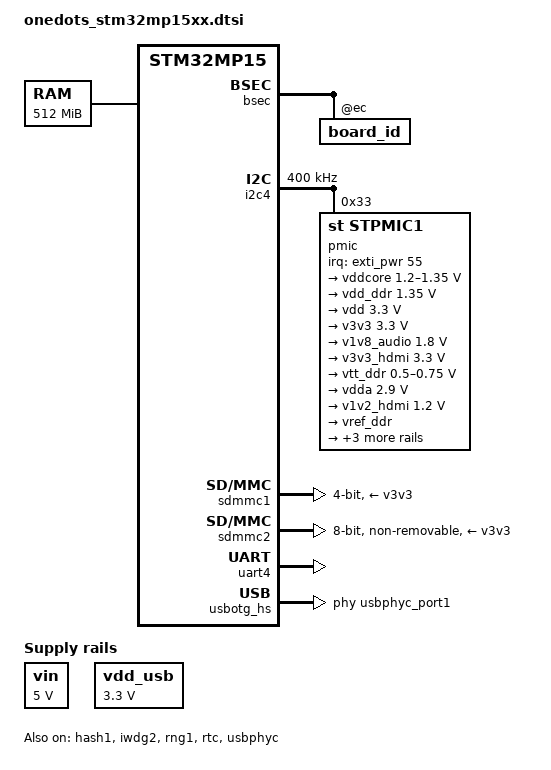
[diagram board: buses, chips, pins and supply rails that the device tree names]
// SPDX-License-Identifier: (GPL-2.0+ OR BSD-3-Clause)
/*
 * Copyright (C) STMicroelectronics 2019 - All Rights Reserved
 * Author: Alexandre Torgue <alexandre.torgue@st.com> for STMicroelectronics.
 */

#include <dt-bindings/clock/stm32mp1-clksrc.h>
#include <dt-bindings/power/stm32mp1-power.h>
#include "onedots_stm32mp15-ddr3-2x2Gb-1066-binG.dtsi"

/ {
	memory@c0000000 {
		device_type = "memory";
		reg = <0xc0000000 0x20000000>;
	};

	vin: vin {
		compatible = "regulator-fixed";
		regulator-name = "vin";
		regulator-min-microvolt = <5000000>;
		regulator-max-microvolt = <5000000>;
		regulator-always-on;
	};
	vdd_usb: vdd_usb {
         	compatible = "regulator-fixed";
         	regulator-name = "vdd_usb";
         	regulator-min-microvolt = <3300000>;
         	regulator-max-microvolt = <3300000>;
   		startup-delay-us = <70000>;
   		regulator-boot-on;
   		regulator-pull-down; 
    	};
};

&bsec {
	board_id: board_id@ec {
		reg = <0xec 0x4>;
		st,non-secure-otp;
	};
};

&clk_hse {
	st,digbypass;
};

&cpu0{
	cpu-supply = <&vddcore>;
};

&cpu1{
	cpu-supply = <&vddcore>;
};

&hash1 {
	status = "okay";
};

&i2c4 {
	pinctrl-names = "default";
	pinctrl-0 = <&i2c4_pins_a>;
	i2c-scl-rising-time-ns = <185>;
	i2c-scl-falling-time-ns = <20>;
	clock-frequency = <400000>;
	status = "okay";
	secure-status = "okay";

	pmic: stpmic@33 {
		compatible = "st,stpmic1";
		reg = <0x33>;
		interrupts-extended = <&exti_pwr 55 IRQ_TYPE_EDGE_FALLING>;
		interrupt-controller;
		#interrupt-cells = <2>;
		#address-cells = <0>;
		status = "okay";
		secure-status = "okay";

		regulators {
			compatible = "st,stpmic1-regulators";
			buck1-supply = <&vin>;
			buck2-supply = <&vin>;
			buck3-supply = <&vin>;
			buck4-supply = <&vin>;
			ldo1-supply = <&v3v3>;
			ldo2-supply = <&vin>;
			ldo3-supply = <&vdd_ddr>;
			ldo4-supply = <&vin>;
			ldo5-supply = <&vin>;
			ldo6-supply = <&v3v3>;
			vref_ddr-supply = <&vin>;
			boost-supply = <&vin>;
			pwr_sw1-supply = <&bst_out>;
			pwr_sw2-supply = <&bst_out>;

			vddcore: buck1 {
				regulator-name = "vddcore";
				regulator-min-microvolt = <1200000>;
				regulator-max-microvolt = <1350000>;
				regulator-always-on;
				regulator-initial-mode = <0>;
				regulator-over-current-protection;
				lp-stop {
					regulator-on-in-suspend;
					regulator-suspend-microvolt = <1200000>;
				};
				standby-ddr-sr {
					regulator-off-in-suspend;
				};
				standby-ddr-off {
					regulator-off-in-suspend;
				};
			};

			vdd_ddr: buck2 {
				regulator-name = "vdd_ddr";
				regulator-min-microvolt = <1350000>;
				regulator-max-microvolt = <1350000>;
				regulator-always-on;
				regulator-initial-mode = <0>;
				regulator-over-current-protection;
				lp-stop {
					regulator-suspend-microvolt = <1350000>;
					regulator-on-in-suspend;
				};
				standby-ddr-sr {
					regulator-suspend-microvolt = <1350000>;
					regulator-on-in-suspend;
				};
				standby-ddr-off {
					regulator-off-in-suspend;
				};
			};

			vdd: buck3 {
				regulator-name = "vdd";
				regulator-min-microvolt = <3300000>;
				regulator-max-microvolt = <3300000>;
				regulator-always-on;
				st,mask-reset;
				regulator-initial-mode = <0>;
				regulator-over-current-protection;
				lp-stop {
					regulator-suspend-microvolt = <3300000>;
					regulator-on-in-suspend;
				};
				standby-ddr-sr {
					regulator-suspend-microvolt = <3300000>;
					regulator-on-in-suspend;
				};
				standby-ddr-off {
					regulator-suspend-microvolt = <3300000>;
					regulator-on-in-suspend;
				};
			};

			v3v3: buck4 {
				regulator-name = "v3v3";
				regulator-min-microvolt = <3300000>;
				regulator-max-microvolt = <3300000>;
				regulator-always-on;
				regulator-over-current-protection;
				regulator-initial-mode = <0>;
				lp-stop {
					regulator-suspend-microvolt = <3300000>;
					regulator-on-in-suspend;
				};
				standby-ddr-sr {
					regulator-off-in-suspend;
				};
				standby-ddr-off {
					regulator-off-in-suspend;
				};
			};

			v1v8_audio: ldo1 {
				regulator-name = "v1v8_audio";
				regulator-min-microvolt = <1800000>;
				regulator-max-microvolt = <1800000>;
				regulator-always-on;
				standby-ddr-sr {
					regulator-off-in-suspend;
				};
				standby-ddr-off {
					regulator-off-in-suspend;
				};
			};

			v3v3_hdmi: ldo2 {
				regulator-name = "v3v3_hdmi";
				regulator-min-microvolt = <3300000>;
				regulator-max-microvolt = <3300000>;
				regulator-always-on;
				standby-ddr-sr {
					regulator-off-in-suspend;
				};
				standby-ddr-off {
					regulator-off-in-suspend;
				};
			};

			vtt_ddr: ldo3 {
				regulator-name = "vtt_ddr";
				regulator-min-microvolt = <500000>;
				regulator-max-microvolt = <750000>;
				regulator-always-on;
				regulator-over-current-protection;
				lp-stop {
					regulator-off-in-suspend;
				};
				standby-ddr-sr {
					regulator-off-in-suspend;
				};
				standby-ddr-off {
					regulator-off-in-suspend;
				};
			};

			vdda: ldo5 {
				regulator-name = "vdda";
				regulator-min-microvolt = <2900000>;
				regulator-max-microvolt = <2900000>;
				regulator-boot-on;
				standby-ddr-sr {
					regulator-off-in-suspend;
				};
				standby-ddr-off {
					regulator-off-in-suspend;
				};
			};

			v1v2_hdmi: ldo6 {
				regulator-name = "v1v2_hdmi";
				regulator-min-microvolt = <1200000>;
				regulator-max-microvolt = <1200000>;
				regulator-always-on;
				standby-ddr-sr {
					regulator-off-in-suspend;
				};
				standby-ddr-off {
					regulator-off-in-suspend;
				};
			};

			vref_ddr: vref_ddr {
				regulator-name = "vref_ddr";
				regulator-always-on;
				regulator-over-current-protection;
				lp-stop {
					regulator-on-in-suspend;
				};
				standby-ddr-sr {
					regulator-on-in-suspend;
				};
				standby-ddr-off {
					regulator-off-in-suspend;
				};
			};

			bst_out: boost {
				regulator-name = "bst_out";
			};

			vbus_otg: pwr_sw1 {
				regulator-name = "vbus_otg";
			};

			vbus_sw: pwr_sw2 {
				regulator-name = "vbus_sw";
				regulator-active-discharge = <1>;
			};
		};
	};
};

&ddr {
	vdd-supply = <&vdd_ddr>;
	vtt-supply = <&vtt_ddr>;
	vref-supply = <&vref_ddr>;
};

&iwdg2 {
	timeout-sec = <32>;
	status = "okay";
	secure-status = "okay";
};

&pwr_regulators {
	system_suspend_supported_soc_modes = <
		STM32_PM_CSLEEP_RUN
		STM32_PM_CSTOP_ALLOW_LP_STOP
		STM32_PM_CSTOP_ALLOW_STANDBY_DDR_SR
	>;
	system_off_soc_mode = <STM32_PM_CSTOP_ALLOW_STANDBY_DDR_OFF>;
	vdd-supply = <&vdd>;
	vdd_3v3_usbfs-supply = <&vdd_usb>;
};

&rcc {
	compatible = "st,stm32mp1-rcc-secure", "st,stm32mp1-rcc", "syscon";
	st,clksrc = <
		CLK_MPU_PLL1P
		CLK_AXI_PLL2P
		CLK_MCU_PLL3P
		CLK_CKPER_HSE
		CLK_SDMMC12_PLL4P
		CLK_STGEN_HSE
		CLK_I2C46_HSI
		CLK_UART24_HSI
		CLK_USBPHY_HSE
		CLK_USBO_USBPHY
	>;

	st,clkdiv = <
		DIV(DIV_MPU, 1)
		DIV(DIV_AXI, 0)
		DIV(DIV_MCU, 0)
		DIV(DIV_APB1, 1)
		DIV(DIV_APB2, 1)
		DIV(DIV_APB3, 1)
		DIV(DIV_APB4, 1)
		DIV(DIV_APB5, 2)
	>;

	st,pll_vco {
		pll2_vco_1066Mhz: pll2-vco-1066Mhz {
			src = <CLK_PLL12_HSE>;
			divmn = <2 65>;
			frac = <0x1400>;
		};

		pll3_vco_417Mhz: pll3-vco-417Mhz {
			src = <CLK_PLL3_HSE>;
			divmn = <1 33>;
			frac = <0x1a04>;
		};

		pll4_vco_750Mhz: pll4-vco-750Mhz {
			src = <CLK_PLL4_HSE>;
			divmn = <3 124>;
		};
	};

	/* VCO = 1066.0 MHz => P = 266 (AXI), Q = 533 (GPU), R = 533 (DDR) */
	pll2: st,pll@1 {
		compatible = "st,stm32mp1-pll";
		reg = <1>;

		st,pll = <&pll2_cfg1>;

		pll2_cfg1: pll2_cfg1 {
			st,pll_vco = <&pll2_vco_1066Mhz>;
			st,pll_div_pqr = <1 0 0>;
		};
	};

	/* VCO = 417.8 MHz => P = 209, Q = 24, R = 11 */
	pll3: st,pll@2 {
		compatible = "st,stm32mp1-pll";
		reg = <2>;

		st,pll = <&pll3_cfg1>;

		pll3_cfg1: pll3_cfg1 {
			st,pll_vco = <&pll3_vco_417Mhz>;
			st,pll_div_pqr = <1 16 36>;
		};
	};

	/* VCO = 750.0 MHz => P = 125, Q = 62.5, R = 62.5 */
	pll4: st,pll@3 {
		compatible = "st,stm32mp1-pll";
		reg = <3>;

		st,pll = <&pll4_cfg1>;

		pll4_cfg1: pll4_cfg1 {
			st,pll_vco = <&pll4_vco_750Mhz>;
			st,pll_div_pqr = <5 11 11>;
		};
	};
};

&rng1 {
	status = "okay";
	secure-status = "okay";
};

&rtc {
	status = "okay";
	secure-status = "okay";
};

&sdmmc1 {
	pinctrl-names = "default";
	pinctrl-0 = <&sdmmc1_b4_pins_a>;
	disable-wp;
	st,neg-edge;
	bus-width = <4>;
	vmmc-supply = <&v3v3>;
	status = "okay";
};
&sdmmc2 {
        pinctrl-names = "default";
        pinctrl-0 = <&sdmmc2_b4_pins_a &sdmmc2_d47_pins_a>;
        non-removable;
        no-sd;
        no-sdio;
        st,neg-edge;
        bus-width = <8>;
        vmmc-supply = <&v3v3>;
        vqmmc-supply = <&v3v3>;
        mmc-ddr-3_3v;
        status = "okay";
};
&timers15 {
	secure-status = "okay";
	st,hsi-cal-input = <7>;
	st,csi-cal-input = <8>;
};

&uart4 {
	pinctrl-names = "default";
	pinctrl-0 = <&uart4_pins_a>;
	status = "okay";
};

&uart7 {
	pinctrl-names = "default";
	pinctrl-0 = <&uart7_pins_b>;
	status = "disabled";
};

&usart3 {
	pinctrl-names = "default";
	pinctrl-0 = <&usart3_pins_b>;
	uart-has-rtscts;
	status = "disabled";
};

&usbotg_hs {
	phys = <&usbphyc_port1 0>;
	phy-names = "usb2-phy";
	usb-role-switch;
	status = "okay";
};

&usbphyc {
	status = "okay";
};

&usbphyc_port0 {
	phy-supply = <&vdd_usb>;
};

&usbphyc_port1 {
	phy-supply = <&vdd_usb>;
};
